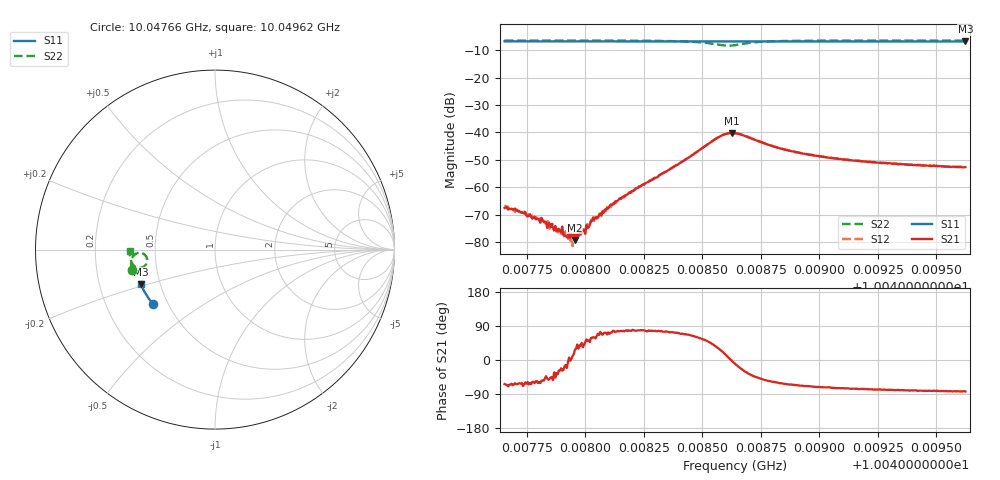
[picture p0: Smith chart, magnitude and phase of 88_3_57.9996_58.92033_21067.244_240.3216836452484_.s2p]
#  HZ  S  RI  R  50.00
! Rohde & Schwarz Vector Network Analyzer
! Rohde-Schwarz,ZNB20-2Port,1311601062101988,3.16
! Created: UTC 3/21/2024, 12:54:12 AM
! freq[Hz]  re:S11  im:S11  re:S21  im:S21  re:S12  im:S12  re:S22  im:S22
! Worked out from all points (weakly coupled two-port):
!   401 points, 10.04766 GHz to 10.04962 GHz, reference 50 ohm
!   highest |S21| = -40.21 dB at 10.04862 GHz (marker M1); lowest = -79.2 dB at 10.04796 GHz (marker M2)
!   lowest |S11| = -6.8 dB at 10.04962 GHz (marker M3), VSWR 2.68, Z = 19.5 - j9.51 ohm
!   |S11| at or under -10 dB: nowhere
!   |S22| runs from -8.4 to -6.4 dB; largest |S21 - S12| = 0.00069
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1.0047655e10  -0.3453 -0.304  0.000187 -0.000375  0.000229 -0.000408  -0.4618 -0.1163
1.0047704e10  -0.3473 -0.3014  0.000169 -0.00034  0.000182 -0.000346  -0.4626 -0.1128
1.0047822e10  -0.3522 -0.2952  0.000135 -0.000188  0.000156 -0.00019  -0.4643 -0.1038
1.0047867e10  -0.354 -0.2929  0.000137 -8.73e-05  0.000163 -0.000122  -0.4648 -0.1002
1.0047891e10  -0.355 -0.2916  0.000139 -7.43e-05  0.000135 -7.08e-05  -0.465 -0.0983
1.0047916e10  -0.356 -0.2903  0.000126 -2.92e-05  0.000153 -3.26e-05  -0.4653 -0.0961
1.0047936e10  -0.3568 -0.2892  0.00012 -3.52e-06  0.000107 2.2e-06  -0.4654 -0.0946
1.0047955e10  -0.3576 -0.2882  9.78e-05 4.93e-05  0.000117 3.4e-05  -0.4657 -0.0929
1.0047965e10  -0.358 -0.2877  0.000101 8.64e-05  0.000119 7.59e-05  -0.4657 -0.092
1.0047985e10  -0.3588 -0.2866  0.000104 0.000104  0.000104 0.000127  -0.466 -0.0904
1.004801e10  -0.3599 -0.2853  0.000116 0.000139  0.000132 0.000168  -0.4661 -0.0883
1.0048034e10  -0.3608 -0.2841  0.00014 0.000246  0.000103 0.000244  -0.4663 -0.086
1.0048059e10  -0.3616 -0.2826  0.000122 0.000278  0.000105 0.000298  -0.4665 -0.0839
1.0048118e10  -0.3641 -0.2796  0.000114 0.000492  0.000108 0.000473  -0.4668 -0.0783
1.0048315e10  -0.3715 -0.2687  0.000374 0.00159  0.000305 0.00164  -0.4643 -0.055
1.0048561e10  -0.3799 -0.2547  0.00645 0.00442  0.00619 0.00481  -0.4032 -0.021
1.0048625e10  -0.3817 -0.2515  0.00976 -0.000233  0.00979 0.000394  -0.3785 -0.0663
1.004864e10  -0.3822 -0.2508  0.00954 -0.00168  0.00968 -0.00101  -0.3825 -0.079
1.0048812e10  -0.3886 -0.2415  0.00281 -0.00462  0.00312 -0.00452  -0.4535 -0.0873
1.004897e10  -0.3941 -0.2324  0.00132 -0.00362  0.00151 -0.0036  -0.4671 -0.0647
1.0049299e10  -0.4044 -0.213  0.000517 -0.00271  0.000676 -0.00266  -0.4739 -0.0327
1.0049624e10  -0.4133 -0.1936  0.000282 -0.00231  0.000423 -0.00228  -0.4753 -0.00752
